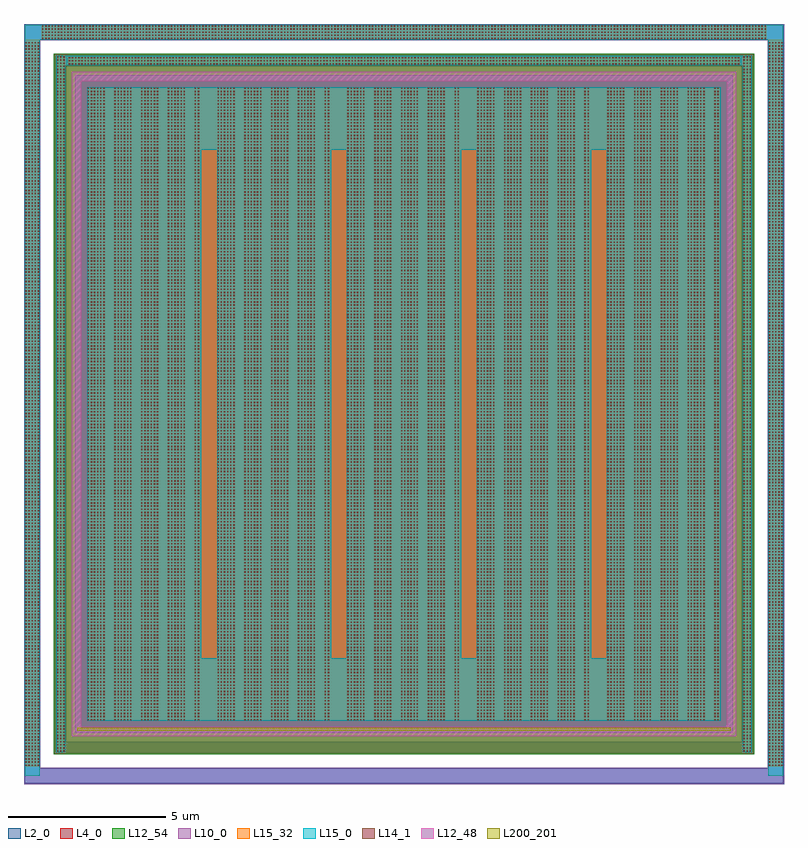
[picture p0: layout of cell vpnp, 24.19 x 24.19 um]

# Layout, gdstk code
import gdstk
lib = gdstk.Library(unit=1e-6, precision=1e-09)
def R(c, l, rs):  # rectangles x0, y0, x1, y1
    for r in rs: c.add(gdstk.rectangle(r[:2], r[2:], *l))
def A(c, l, x, y, w, h, nx, ny, dx, dy):  # array of equal rectangles
    R(c, l, [(x+i*dx, y+j*dy, x+i*dx+w, y+j*dy+h) for i in range(nx) for j in range(ny)])
L2_0 = (2, 0)
L4_0 = (4, 0)
L10_0 = (10, 0)
L12_48 = (12, 48)
L12_54 = (12, 54)
L14_1 = (14, 1)
L15_0 = (15, 0)
L15_32 = (15, 32)
L200_201 = (200, 201)

vpnp = lib.new_cell('vpnp')
R(vpnp, L2_0, [(-18.579,-10.609,5.573,-10.129), (-18.579,-10.129,-18.099,13.063), (5.093,-10.129,5.573,13.063), (-17.599,-9.629,4.593,-9.289), (-17.599,-9.289,-17.259,12.223), (4.253,-9.289,4.593,12.223), (-16.903,-8.933,3.897,11.867), (-17.599,12.223,4.593,12.563), (-18.579,13.063,5.573,13.543)])
R(vpnp, L4_0, [(-17.655,-9.685,4.649,12.619)])
R(vpnp, L10_0, [(-18.6,-10.63,5.594,-10.108), (-18.6,-10.108,-18.078,13.042), (5.072,-10.108,5.594,13.042), (-16.973,-9.003,3.967,11.937), (-18.6,13.042,5.594,13.564)])
R(vpnp, L12_48, [(-17.084,-9.114,4.078,-8.808), (-17.084,-8.808,-16.778,11.742), (3.772,-8.808,4.078,11.742), (-17.084,11.742,4.078,12.048)])
R(vpnp, L12_54, [(-17.655,-9.685,4.649,12.619)])
A(vpnp, L14_1, -18.559, -10.053, 0.04, 0.04, 5, 231, 0.1, 0.1)
A(vpnp, L14_1, 5.113, -10.053, 0.04, 0.04, 5, 231, 0.1, 0.1)
A(vpnp, L14_1, -17.549, -9.603, 0.04, 0.04, 3, 222, 0.1, 0.1)
A(vpnp, L14_1, 4.303, -9.603, 0.04, 0.04, 3, 222, 0.1, 0.1)
A(vpnp, L14_1, -16.573, -8.603, 0.04, 0.04, 6, 202, 0.1, 0.1)
A(vpnp, L14_1, -15.721, -8.603, 0.04, 0.04, 6, 202, 0.1, 0.1)
A(vpnp, L14_1, -14.869, -8.603, 0.04, 0.04, 6, 202, 0.1, 0.1)
A(vpnp, L14_1, -14.017, -8.603, 0.04, 0.04, 6, 202, 0.1, 0.1)
A(vpnp, L14_1, -13.165, -8.603, 0.04, 0.04, 1, 202, 0, 0.1)
A(vpnp, L14_1, -13.065, -8.603, 0.04, 0.04, 1, 202, 0, 0.1)
A(vpnp, L14_1, -12.437, -8.603, 0.04, 0.04, 6, 202, 0.1, 0.1)
A(vpnp, L14_1, -11.585, -8.603, 0.04, 0.04, 6, 202, 0.1, 0.1)
A(vpnp, L14_1, -10.733, -8.603, 0.04, 0.04, 6, 202, 0.1, 0.1)
A(vpnp, L14_1, -9.881, -8.603, 0.04, 0.04, 6, 202, 0.1, 0.1)
A(vpnp, L14_1, -9.029, -8.603, 0.04, 0.04, 1, 202, 0, 0.1)
A(vpnp, L14_1, -8.929, -8.603, 0.04, 0.04, 1, 202, 0, 0.1)
A(vpnp, L14_1, -8.302, -8.603, 0.04, 0.04, 6, 202, 0.1, 0.1)
A(vpnp, L14_1, -7.45, -8.603, 0.04, 0.04, 6, 202, 0.1, 0.1)
A(vpnp, L14_1, -6.598, -8.603, 0.04, 0.04, 6, 202, 0.1, 0.1)
A(vpnp, L14_1, -5.746, -8.603, 0.04, 0.04, 6, 202, 0.1, 0.1)
A(vpnp, L14_1, -4.894, -8.603, 0.04, 0.04, 1, 202, 0, 0.1)
A(vpnp, L14_1, -4.794, -8.603, 0.04, 0.04, 1, 202, 0, 0.1)
A(vpnp, L14_1, -4.167, -8.603, 0.04, 0.04, 6, 202, 0.1, 0.1)
A(vpnp, L14_1, -3.315, -8.603, 0.04, 0.04, 6, 202, 0.1, 0.1)
A(vpnp, L14_1, -2.463, -8.603, 0.04, 0.04, 6, 202, 0.1, 0.1)
A(vpnp, L14_1, -1.611, -8.603, 0.04, 0.04, 6, 202, 0.1, 0.1)
A(vpnp, L14_1, -0.759, -8.603, 0.04, 0.04, 1, 202, 0, 0.1)
A(vpnp, L14_1, -0.659, -8.603, 0.04, 0.04, 1, 202, 0, 0.1)
A(vpnp, L14_1, -0.032, -8.603, 0.04, 0.04, 6, 202, 0.1, 0.1)
A(vpnp, L14_1, 0.82, -8.603, 0.04, 0.04, 6, 202, 0.1, 0.1)
A(vpnp, L14_1, 1.672, -8.603, 0.04, 0.04, 6, 202, 0.1, 0.1)
A(vpnp, L14_1, 2.524, -8.603, 0.04, 0.04, 6, 202, 0.1, 0.1)
A(vpnp, L14_1, 3.376, -8.603, 0.04, 0.04, 1, 202, 0, 0.1)
A(vpnp, L14_1, 3.476, -8.603, 0.04, 0.04, 1, 202, 0, 0.1)
A(vpnp, L14_1, -17.173, 12.273, 0.04, 0.04, 214, 3, 0.1, 0.1)
A(vpnp, L14_1, -18.023, 13.083, 0.04, 0.04, 231, 5, 0.1, 0.1)
A(vpnp, L15_0, -12.455, -6.621, 3.635, 16.176, 4, 1, 4.135, 0)
R(vpnp, L15_0, [(-18.577,-10.369,-18.101,13.541), (5.095,-10.369,5.571,13.541), (-17.567,-9.621,-17.291,12.555), (4.285,-9.621,4.561,12.555), (-16.591,-8.621,3.585,-6.621), (-16.591,-6.621,-12.956,9.555), (-16.591,9.555,3.585,11.555), (-17.291,12.255,4.285,12.555), (-18.101,13.065,5.095,13.541)])
R(vpnp, L15_32, [(-18.577,-10.071,-18.101,13.065), (5.095,-10.071,5.571,13.065), (-17.567,-9.621,-17.291,12.555), (4.285,-9.621,4.561,12.555), (-16.591,-8.621,3.585,11.555), (-17.191,12.255,4.185,12.531), (-18.041,13.065,5.035,13.541)])
R(vpnp, L200_201, [(-16.903,-8.933,3.897,-8.833)])

lib.write_gds('vpnp.gds')
